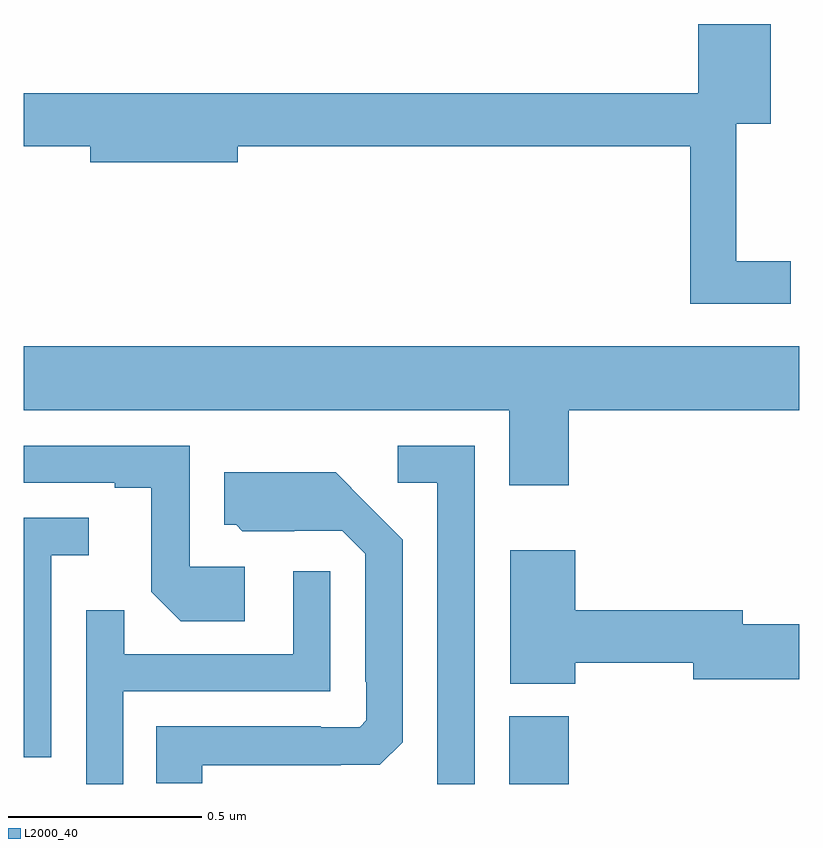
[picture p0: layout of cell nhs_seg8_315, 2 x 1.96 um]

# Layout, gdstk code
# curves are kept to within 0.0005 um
import gdstk
lib = gdstk.Library(unit=1e-6, precision=1e-09)
def R(c, l, rs):  # rectangles x0, y0, x1, y1
    for r in rs: c.add(gdstk.rectangle(r[:2], r[2:], *l))
def P(c, l, *ps):  # polygons
    for p in ps: c.add(gdstk.Polygon(p, *l))
L2000_40 = (2000, 40)

nhs_seg8_315 = lib.new_cell('nhs_seg8_315')
R(nhs_seg8_315, L2000_40, [(116.252,1084.9,116.405,1085.074)])
P(nhs_seg8_315, L2000_40, [(116.977,1086.247),(116.837,1086.247),(116.837,1086.602),(116.926,1086.602),(116.926,1086.859),(116.739,1086.859),(116.739,1086.68),(115,1086.68),(115,1086.544),(115.172,1086.544),(115.172,1086.502),(115.552,1086.502),(115.552,1086.544),(116.719,1086.544),(116.719,1086.138),(116.977,1086.138)],
  [(116.405,1085.864),(117,1085.864),(117,1086.028),(115,1086.028),(115,1085.864),(116.252,1085.864),(116.252,1085.67),(116.405,1085.67)],
  [(116.163,1085.772),(115.965,1085.772),(115.965,1085.676),(116.067,1085.676),(116.067,1084.9),(116.163,1084.9)],
  [(115.57,1085.46),(115.428,1085.46),(115.428,1085.772),(115,1085.772),(115,1085.676),(115.235,1085.676),(115.235,1085.664),(115.329,1085.664),(115.329,1085.396),(115.405,1085.32),(115.57,1085.32)],
  [(115.461,1084.948),(115.817,1084.948),(115.817,1084.949),(115.918,1084.949),(115.977,1085.008),(115.977,1085.53),(115.805,1085.704),(115.517,1085.704),(115.517,1085.568),(115.548,1085.568),(115.564,1085.552),(115.698,1085.552),(115.698,1085.553),(115.821,1085.553),(115.881,1085.493),(115.881,1085.164),(115.884,1085.164),(115.884,1085.064),(115.866,1085.046),(115.766,1085.046),(115.766,1085.049),(115.342,1085.049),(115.342,1084.902),(115.461,1084.902)],
  [(115.071,1085.489),(115.168,1085.489),(115.168,1085.586),(115,1085.586),(115,1084.969),(115.071,1084.969)],
  [(116.422,1085.212),(116.726,1085.212),(116.726,1085.17),(117,1085.17),(117,1085.312),(116.854,1085.312),(116.854,1085.348),(116.422,1085.348),(116.422,1085.503),(116.255,1085.503),(116.255,1085.159),(116.422,1085.159)],
  [(115.257,1085.139),(115.791,1085.139),(115.791,1085.449),(115.695,1085.449),(115.695,1085.235),(115.259,1085.235),(115.259,1085.348),(115.161,1085.348),(115.161,1084.9),(115.257,1084.9)])

lib.write_gds('nhs_seg8_315.gds')
